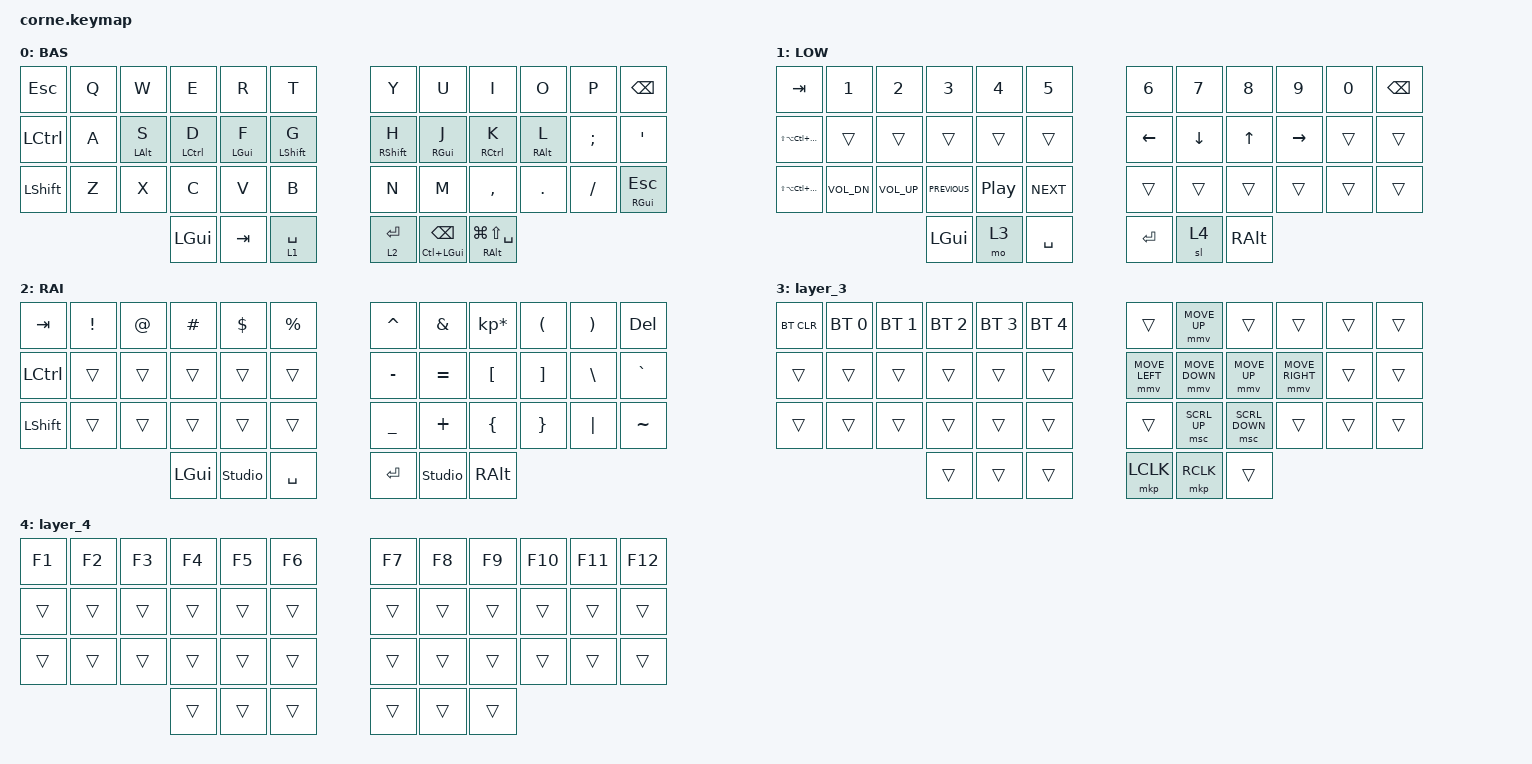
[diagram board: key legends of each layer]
/*
 * Copyright (c) 2020 The ZMK Contributors
 *
 * SPDX-License-Identifier: MIT
 */

#include <dt-bindings/led/led.h>
#include <dt-bindings/zmk/reset.h>
#include <behaviors.dtsi>
#include <dt-bindings/zmk/bt.h>
#include <dt-bindings/zmk/keys.h>
#include <dt-bindings/zmk/pointing.h>

&led_strip { chain-length = <27>; };

&mt { tapping-term-ms = <300>; };

/ {
    combos {
        compatible = "zmk,combos";

        Paste {
            bindings = <&kp LG(V)>;
            key-positions = <29 28>;
            layers = <0>;
        };

        email {
            bindings = <&dri_email>;
            key-positions = <13 14>;
        };

        Copy {
            bindings = <&kp LG(C)>;
            key-positions = <28 27>;
            layers = <0>;
        };
    };

    macros {
        dri_email: new_macro {
            compatible = "zmk,behavior-macro";
            #binding-cells = <0>;
            bindings = <&kp S &kp A &kp U &kp D &kp E &kp T &kp AT &kp D &kp A &kp T &kp A &kp R &kp E &kp M &kp O &kp T &kp E &kp DOT &kp C &kp O &kp M>;
            label = "NEW_MACRO";
        };
    };

    keymap {
        compatible = "zmk,keymap";

        default_layer {
            display-name = "BAS";

            // -----------------------------------------------------------------------------------------
            // |  TAB |  Q  |  W  |  E  |  R  |  T  |   |  Y  |  U   |  I  |  O  |  P  | BKSP |
            // | CTRL |  A  |  S  |  D  |  F  |  G  |   |  H  |  J   |  K  |  L  |  ;  |  '   |
            // | SHFT |  Z  |  X  |  C  |  V  |  B  |   |  N  |  M   |  ,  |  .  |  /  | ESC  |
            //                    | GUI | LWR | SPC |   | ENT | RSE  | ALT |

            bindings = <
&kp ESC    &kp Q  &kp W           &kp E        &kp R           &kp T               &kp Y              &kp U                       &kp I                   &kp O            &kp P     &kp BSPC
&kp LCTRL  &kp A  &mt LEFT_ALT S  &mt LCTRL D  &mt LEFT_GUI F  &mt LEFT_SHIFT G    &mt RIGHT_SHIFT H  &mt RIGHT_GUI J             &mt RCTRL K             &mt RIGHT_ALT L  &kp SEMI  &kp SQT
&kp LSHFT  &kp Z  &kp X           &kp C        &kp V           &kp B               &kp N              &kp M                       &kp COMMA               &kp DOT          &kp FSLH  &mt RGUI ESC
                                  &kp LGUI     &kp TAB         &lt 1 SPACE         &lt 2 ENTER        &mt LC(LEFT_GUI) BACKSPACE  &mt RALT LG(LS(SPACE))
            >;
        };

        lower_layer {
            display-name = "LOW";

            // -----------------------------------------------------------------------------------------
            // |  TAB |  1  |  2  |  3  |  4  |  5  |   |  6  |  7  |  8  |  9  |  0  | BKSP |
            // | BTCLR| BT1 | BT2 | BT3 | BT4 | BT5 |   | LFT | DWN |  UP | RGT |     |      |
            // | SHFT |     |     |     |     |     |   |     |     |     |     |     |      |
            //                    | GUI |     | SPC |   | ENT |     | ALT |

            bindings = <
&kp TAB                         &kp N1        &kp N2           &kp N3          &kp N4            &kp N5        &kp N6    &kp N7    &kp N8    &kp N9     &kp N0  &kp BSPC
&kp LS(LA(LC(LG(UP_ARROW))))    &trans        &trans           &trans          &trans            &trans        &kp LEFT  &kp DOWN  &kp UP    &kp RIGHT  &trans  &trans
&kp LS(LA(LC(LG(DOWN_ARROW))))  &kp C_VOL_DN  &kp C_VOLUME_UP  &kp C_PREVIOUS  &kp C_PLAY_PAUSE  &kp C_NEXT    &trans    &trans    &trans    &trans     &trans  &trans
                                                               &kp LGUI        &mo 3             &kp SPACE     &kp RET   &sl 4     &kp RALT
            >;
        };

        raise_layer {
            display-name = "RAI";

            // -----------------------------------------------------------------------------------------
            // |  TAB |  !  |  @  |  #  |  $  |  %  |   |  ^  |  &  |  *  |  (  |  )  | BKSP |
            // | CTRL |     |     |     |     |     |   |  -  |  =  |  [  |  ]  |  \  |  `   |
            // | SHFT |     |     |     |     |     |   |  _  |  +  |  {  |  }  | "|" |  ~   |
            //                    | GUI |     | SPC |   | ENT |     | ALT |

            bindings = <
&kp TAB    &kp EXCL  &kp AT  &kp HASH  &kp DLLR        &kp PRCNT    &kp CARET  &kp AMPS        &kp KP_MULTIPLY  &kp LPAR  &kp RPAR  &kp DELETE
&kp LCTRL  &trans    &trans  &trans    &trans          &trans       &kp MINUS  &kp EQUAL       &kp LBKT         &kp RBKT  &kp BSLH  &kp GRAVE
&kp LSHFT  &trans    &trans  &trans    &trans          &trans       &kp UNDER  &kp PLUS        &kp LBRC         &kp RBRC  &kp PIPE  &kp TILDE
                             &kp LGUI  &studio_unlock  &kp SPACE    &kp RET    &studio_unlock  &kp RALT
            >;
        };

        layer_3 {
            bindings = <
&bt BT_CLR  &bt BT_SEL 0  &bt BT_SEL 1  &bt BT_SEL 2  &bt BT_SEL 3  &bt BT_SEL 4    &trans          &mmv MOVE_UP    &trans          &trans           &trans  &trans
&trans      &trans        &trans        &trans        &trans        &trans          &mmv MOVE_LEFT  &mmv MOVE_DOWN  &mmv MOVE_UP    &mmv MOVE_RIGHT  &trans  &trans
&trans      &trans        &trans        &trans        &trans        &trans          &trans          &msc SCRL_UP    &msc SCRL_DOWN  &trans           &trans  &trans
                                        &trans        &trans        &trans          &mkp LCLK       &mkp RCLK       &trans
            >;
        };

        layer_4 {
            bindings = <
&kp F1  &kp F2  &kp F3  &kp F4  &kp F5  &kp F6    &kp F7  &kp F8  &kp F9  &kp F10  &kp F11  &kp F12
&trans  &trans  &trans  &trans  &trans  &trans    &trans  &trans  &trans  &trans   &trans   &trans
&trans  &trans  &trans  &trans  &trans  &trans    &trans  &trans  &trans  &trans   &trans   &trans
                        &trans  &trans  &trans    &trans  &trans  &trans
            >;
        };
    };
};
